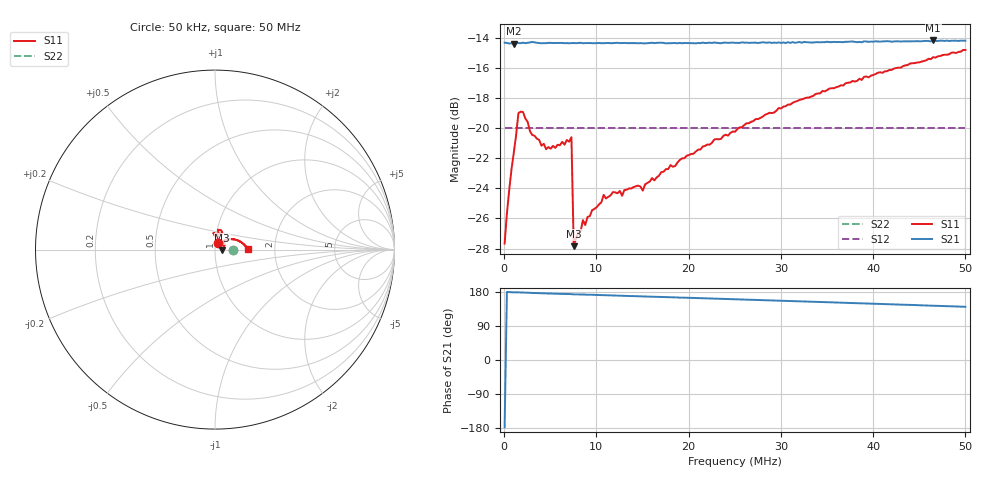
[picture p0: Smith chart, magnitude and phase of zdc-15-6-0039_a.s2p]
!File created by NanoVNA-F V2
# Hz S RI R 50
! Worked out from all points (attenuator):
!   201 points, 50 kHz to 50 MHz, reference 50 ohm
!   highest |S21| = -14.20 dB at 46.5 MHz (marker M1); lowest = -14.4 dB at 1.049 MHz (marker M2)
!   lowest |S11| = -27.8 dB at 7.543 MHz (marker M3), VSWR 1.08, Z = 54.2 - j0.307 ohm
!   |S11| at or under -10 dB: start of sweep to end of sweep
!   |S22| runs from -20.0 to -20.0 dB; largest |S21 - S12| = 0.29
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50000  0.0172 0.0376  -0.1916 -0.00845  0.1 0  0.1 0
549500  0.0173 0.0598  -0.1906 0.00306  0.1 0  0.1 0
1049000  0.0146 0.0816  -0.1904 0.00509  0.1 0  0.1 0
1548500  0.0162 0.1109  -0.1912 0.00574  0.1 0  0.1 0
1798250  0.0321 0.1086  -0.1909 0.00596  0.1 0  0.1 0
3047000  0.0384 0.0867  -0.1925 0.0107  0.1 0  0.1 0
4545500  0.0111 0.0843  -0.1905 0.0144  0.1 0  0.1 0
7292750  -0.00964 0.0927  -0.1901 0.0207  0.1 0  0.1 0
7542500  0.0404 -0.00282  -0.1899 0.023  0.1 0  0.1 0
8541500  0.0491 0.0063  -0.1895 0.0236  0.1 0  0.1 0
8791250  0.0471 0.00742  -0.1896 0.0248  0.1 0  0.1 0
1.078925e7  0.0543 0.0256  -0.1887 0.0299  0.1 0  0.1 0
1.25375e7  0.0497 0.0367  -0.1881 0.0341  0.1 0  0.1 0
1.278725e7  0.0467 0.037  -0.1881 0.0349  0.1 0  0.1 0
1.45355e7  0.0467 0.0443  -0.1868 0.0394  0.1 0  0.1 0
1.5035e7  0.0442 0.0435  -0.1866 0.0401  0.1 0  0.1 0
1.678325e7  0.0504 0.0477  -0.1865 0.0443  0.1 0  0.1 0
2.5025e7  0.0787 0.0569  -0.1803 0.0646  0.1 0  0.1 0
3.35165e7  0.1158 0.0541  -0.1719 0.0856  0.1 0  0.1 0
4.175825e7  0.1514 0.0364  -0.1627 0.1053  0.1 0  0.1 0
4.65035e7  0.1703 0.0219  -0.1564 0.1166  0.1 0  0.1 0
5e7  0.1813 0.00607  -0.1502 0.1241  0.1 0  0.1 0
